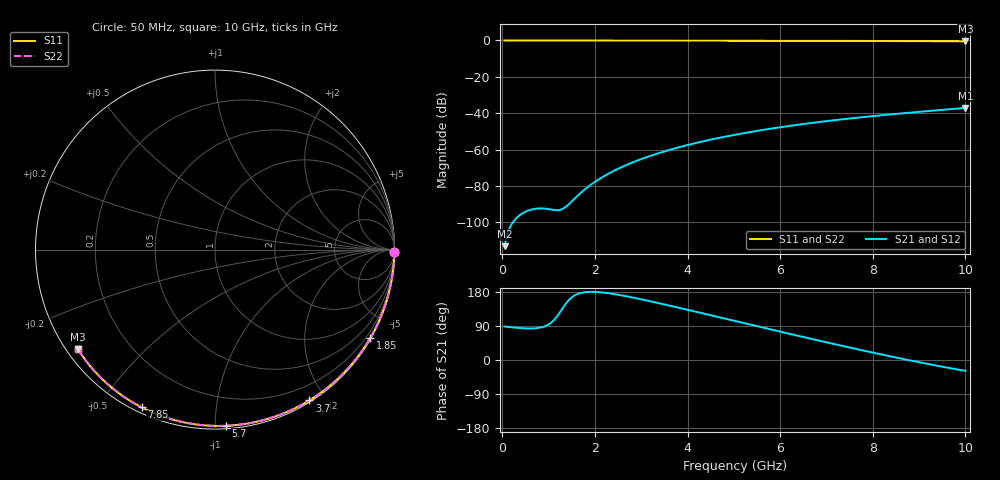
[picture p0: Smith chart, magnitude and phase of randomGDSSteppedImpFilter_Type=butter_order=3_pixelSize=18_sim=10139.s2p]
! freq	dB(S11)	phase(S11)	dB(S12)	phase(S12)
!  dB(S21)	phase(S21)	dB(S22)	phase(S22)
!S-par simulation data
#  GHz  S  DB  R 50
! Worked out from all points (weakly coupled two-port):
!   200 points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, 50 MHz to 10 GHz, reference 50 ohm
!   highest |S21| = -37.08 dB at 10 GHz (marker M1); lowest = -113.1 dB at 50 MHz (marker M2)
!   lowest |S11| = -0.5 dB at 10 GHz (marker M3), VSWR 34.55, Z = 1.6 - j16.3 ohm
!   |S11| at or under -10 dB: nowhere
!   |S22| runs from -0.5 to 0.0 dB; largest |S21 - S12| = 0
!   S11 on the Smith chart (normalised r, x): 50 MHz: open; 1.85 GHz: 0.03, -3.77; 3.7 GHz: 0.02, -1.80; 5.7 GHz: 0.02, -1.06; 7.85 GHz: 0.02, -0.64; 10 GHz: 0.03, -0.33
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0.05  -0.00 -0.8  -113.11 88.6  -113.11 88.6  -0.00 -0.8
0.45  -0.01 -7.3  -94.85 83.7  -94.85 83.7  -0.01 -7.3
0.9  -0.02 -14.6  -92.41 88.1  -92.41 88.1  -0.02 -14.6
1.75  -0.04 -28.1  -82.56 178.3  -82.56 178.3  -0.04 -28.1
1.85  -0.04 -29.7  -80.51 179.7  -80.51 179.7  -0.04 -29.7
1.9  -0.04 -30.5  -79.55 180.0  -79.55 180.0  -0.04 -30.5
2.05  -0.04 -32.8  -76.90 179.5  -76.90 179.5  -0.04 -32.8
2.25  -0.05 -36.0  -73.83 176.9  -73.83 176.9  -0.05 -36.0
2.55  -0.05 -40.6  -69.95 171.1  -69.95 171.1  -0.05 -40.6
2.95  -0.06 -46.7  -65.70 161.5  -65.70 161.5  -0.06 -46.7
3.4  -0.07 -53.5  -61.77 149.4  -61.77 149.4  -0.07 -53.5
3.7  -0.08 -58.0  -59.52 141.0  -59.52 141.0  -0.08 -58.0
4.35  -0.10 -67.5  -55.37 122.4  -55.37 122.4  -0.10 -67.5
5.05  -0.12 -77.4  -51.72 102.2  -51.72 102.2  -0.12 -77.4
5.7  -0.14 -86.4  -48.89 83.4  -48.89 83.4  -0.14 -86.4
6.2  -0.17 -93.2  -46.99 69.1  -46.99 69.1  -0.17 -93.2
6.7  -0.19 -99.9  -45.28 55.0  -45.28 55.0  -0.19 -99.9
7.25  -0.23 -107.1  -43.60 39.7  -43.60 39.7  -0.23 -107.1
7.85  -0.27 -115.0  -41.97 23.5  -41.97 23.5  -0.27 -115.0
8.35  -0.31 -121.5  -40.73 10.4  -40.73 10.4  -0.31 -121.5
9.2  -0.40 -132.7  -38.81 -10.7  -38.81 -10.7  -0.40 -132.7
10  -0.50 -143.9  -37.08 -28.8  -37.08 -28.8  -0.50 -143.9
